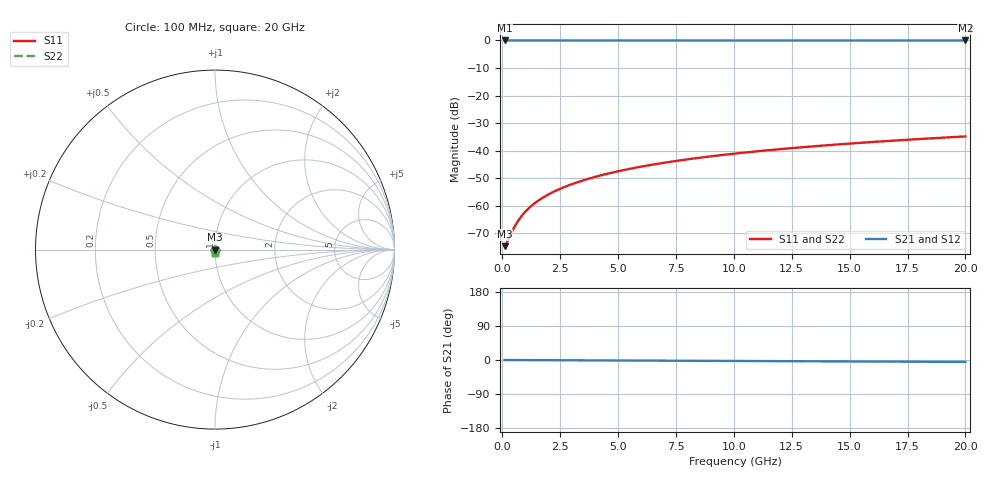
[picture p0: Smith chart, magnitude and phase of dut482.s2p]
! Touchstone file exported from HFSS 2026.1.0
!  File:  C:/ffzhzh/LocalFiles/Ansys_Project_Files/temp_train_TSV_482_1783022577_46388.aedt
!  Generated:  04:04:29 AM Jul  3, 2026
!  Design:  TSV
!  Project:  temp_train_TSV_482_1783022577_46388
! Variables:
!  h_bsmrdl = 2um
!  h_ox = 20um
!  h_rdl = 5um
!  h_sub = 51.36um
!  h_tmrdl = 5um
!  h_tsv = 51.36um
!  h_via = 3um
!  l_bsmrdl = 300um
!  l_sub = 413.16um
!  l_tmrdl = 200um
!  m_sub = 200um
!  pitch = 21.8um
!  r_tsv = 6.58um
!  s_tmrdl = 10um
!  w_bsmrdl = 18um
!  w_sub = 500um
!  w_tmrdl = 12um
!  x_tsv_center1 = 206um
!  x_tsv_center2 = 524um
!  x_tsv_center3 = 736um
!  x_tsv_center4 = 1054um
!  x_tsv_center5 = 1266um
!  x_tsv_center6 = 1584um
# GHz S MA R 50.000000
! Terminal data exported
! Port[1] = TSV1_1_T1
! Port[2] = TSV1_1_T2
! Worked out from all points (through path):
!   200 points, 100 MHz to 20 GHz, reference 50 ohm
!   highest |S21| = 0.00 dB at 100 MHz (marker M1); lowest = 0.0 dB at 20 GHz (marker M2)
!   lowest |S11| = -74.6 dB at 100 MHz (marker M3), VSWR 1.00, Z = 50 - j0.00468 ohm
!   |S11| at or under -10 dB: start of sweep to end of sweep
!   |S22| runs from -74.6 to -34.8 dB; largest |S21 - S12| = 2.4e-15
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0.1  0.0001856 -14.6  0.9998 -0.0  0.9998 -0.0  0.0001856 -14.6
! Gamma 0 0 0 0
! Port Impedance 50 0 50 0
0.2  0.0002185 -26.8  0.9998 -0.1  0.9998 -0.1  0.0002185 -26.8
0.4  0.000329 -43.3  0.9998 -0.1  0.9998 -0.1  0.000329 -43.3
0.5  0.0003977 -48.9  0.9997 -0.1  0.9997 -0.1  0.0003977 -48.9
0.7  0.0005483 -57.0  0.9997 -0.2  0.9997 -0.2  0.0005483 -57.0
0.8  0.0006271 -60.0  0.9997 -0.2  0.9997 -0.2  0.0006271 -60.0
1  0.0007881 -64.6  0.9997 -0.3  0.9997 -0.3  0.0007881 -64.6
1.3  0.001034 -69.3  0.9996 -0.3  0.9996 -0.3  0.001034 -69.3
1.7  0.001366 -73.2  0.9996 -0.4  0.9996 -0.4  0.001366 -73.2
2.2  0.001785 -76.1  0.9996 -0.6  0.9996 -0.6  0.001785 -76.1
2.8  0.002296 -78.3  0.9995 -0.7  0.9995 -0.7  0.002296 -78.3
3.5  0.002904 -80.0  0.9994 -0.9  0.9994 -0.9  0.002904 -80.0
4.2  0.003521 -81.2  0.9994 -1.1  0.9994 -1.1  0.003521 -81.2
5  0.004237 -82.2  0.9993 -1.3  0.9993 -1.3  0.004237 -82.2
5.9  0.005053 -83.2  0.9993 -1.5  0.9993 -1.5  0.005053 -83.2
6.8  0.005875 -84.0  0.9992 -1.8  0.9992 -1.8  0.005875 -84.0
8.3  0.007256 -85.2  0.9991 -2.1  0.9991 -2.1  0.007256 -85.2
10.1  0.00892 -86.4  0.999 -2.6  0.999 -2.6  0.00892 -86.4
11.7  0.0104 -87.3  0.9989 -3.0  0.9989 -3.0  0.0104 -87.3
13.4  0.01198 -88.2  0.9988 -3.4  0.9988 -3.4  0.01198 -88.2
16.7  0.01506 -89.6  0.9987 -4.3  0.9987 -4.3  0.01506 -89.6
20  0.01816 -90.8  0.9985 -5.1  0.9985 -5.1  0.01816 -90.8
